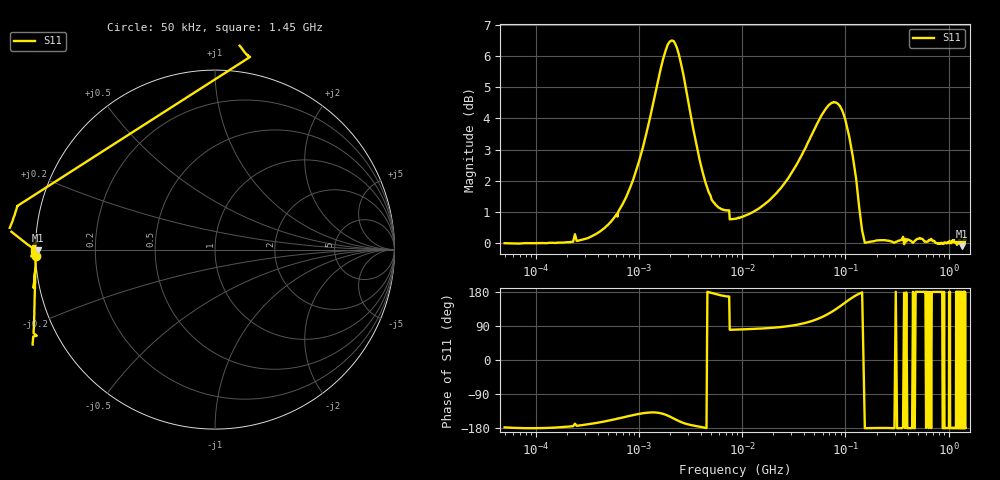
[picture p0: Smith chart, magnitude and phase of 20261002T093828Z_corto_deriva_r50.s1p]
! piloto_deriva / corto_deriva / r50
# HZ S RI R 50
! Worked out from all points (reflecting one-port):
!   501 points, 50 kHz to 1.45 GHz, reference 50 ohm
!   lowest |S11| = -0.1 dB at 1.351 GHz (marker M1), VSWR 168.24, Z = 0.297 - j0.0905 ohm
!   phase of S11 starts at -178 deg and turns -2 deg over the sweep
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50000  -0.9984 -0.0383
183000  -1 -0.0521
363500  -1.004 -0.2249
658000  -1.015 -0.5115
1180000  -1.137 -0.9783
1630000  -1.476 -1.212
1990000  -1.809 -1.079
2170000  -1.902 -0.913
2440000  -1.9 -0.6424
3070000  -1.63 -0.2678
4330000  -1.262 -0.0308
7300000  -1.102 0.2413
7750000  0.1935 1.075
8560000  0.1871 1.078
1.9e7  0.1094 1.173
3.16e7  -0.0346 1.313
4.69e7  -0.323 1.454
6.76e7  -0.8615 1.418
7.84e7  -1.12 1.255
9.37e7  -1.354 0.8999
9.82e7  -1.384 0.7833
1e8  -1.39 0.7373
1.18e8  -1.331 0.3399
1.36e8  -1.134 0.0994
1.63e8  -1.002 -0.00393
4.06e8  -1.012 -0.0032
1.351e9  -0.9882 -0.00358
1.45e9  -1.011 -0.00748
